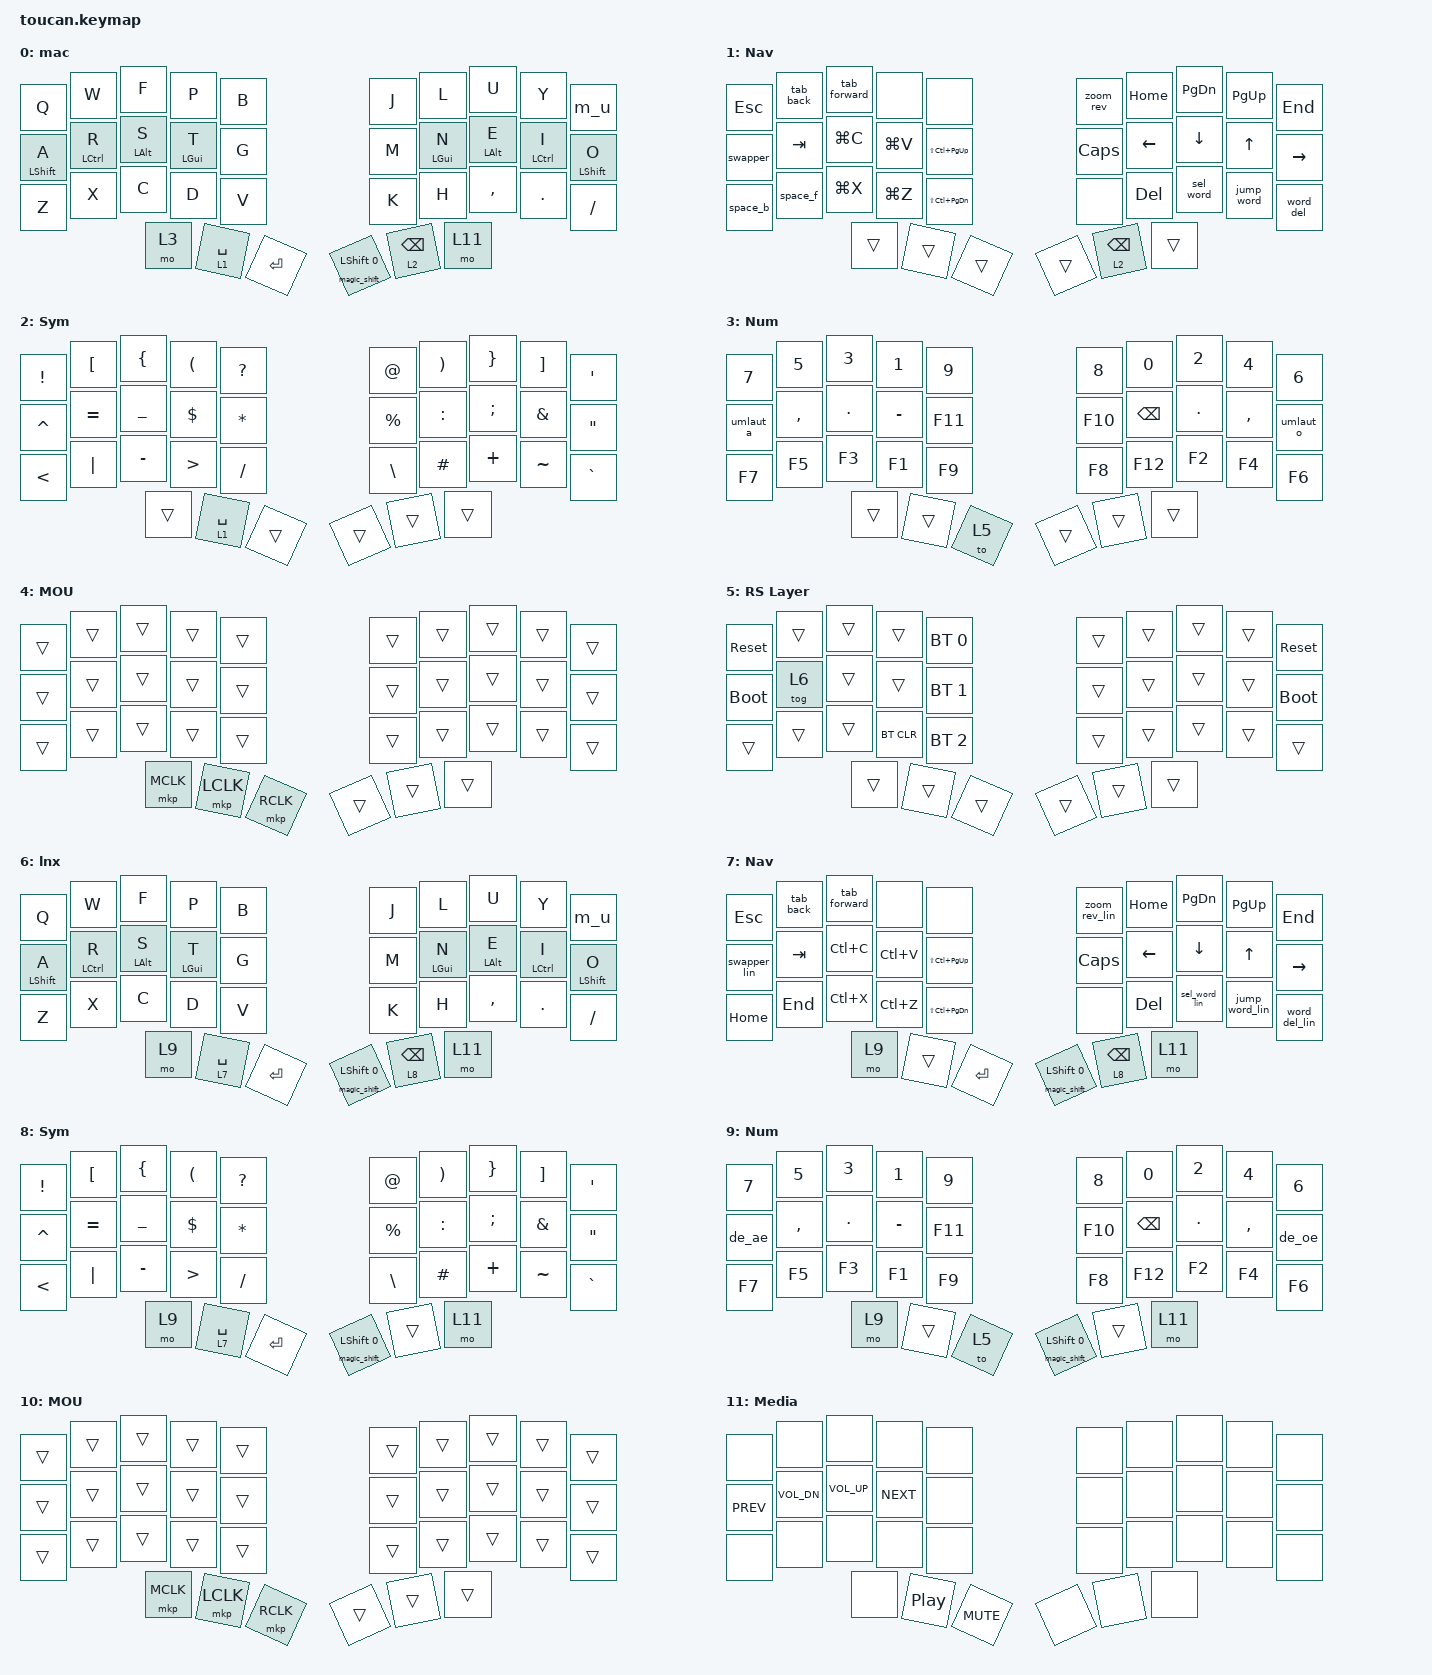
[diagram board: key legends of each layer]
// Copyright (c) 2022 The ZMK Contributors
// SPDX-License-Identifier: MIT

#include <behaviors.dtsi>
#include "zmk-helpers/helper.h"

// Linux Unicode input method for umlauts (Ctrl+Shift+U + hex + Space)
#define OS_UNICODE_LEAD &macro_tap &kp LS(LC(U))
#define OS_UNICODE_TRAIL &macro_tap &kp SPACE
#include <zmk-helpers/unicode-chars/german.dtsi>

#include <dt-bindings/zmk/keys.h>
#include <dt-bindings/zmk/bt.h>
#include <dt-bindings/zmk/pointing.h>
#include <dt-bindings/zmk/outputs.h>
#include "toucan_keys.h"
#include "combos.dtsi"

#define KEYS_L   LT4 LT3 LT2 LT1 LT0 LM4 LM3 LM2 LM1 LM0 LB4 LB3 LB2 LB1 LB0
#define KEYS_R   RT0 RT1 RT2 RT3 RT4 RM0 RM1 RM2 RM3 RM4 RB0 RB1 RB2 RB3 RB4
#define THUMBS   LH1 LH0 LHx RH0 RH1 RHx

#define QUICK_TAP_MS 175

#define MAKE_HRM(NAME, HOLD, TAP, TRIGGER_POS)                                 \
  ZMK_HOLD_TAP(NAME, bindings = <HOLD>, <TAP>; flavor = "balanced";            \
               tapping-term-ms = <280>; quick-tap-ms = <QUICK_TAP_MS>;         \
               require-prior-idle-ms = <150>; hold-trigger-on-release;         \
               hold-trigger-key-positions = <TRIGGER_POS>;)

MAKE_HRM(hml, &kp, &kp, KEYS_R THUMBS) // Left-hand HRMs.
MAKE_HRM(hmr, &kp, &kp, KEYS_L THUMBS) // Right-hand HRMs.

// Ctrl+Shift+PgUp/PgDn (e.g. move tab left/right)
#define S_C_PG_UP &kp LS(LC(PG_UP))
#define S_C_PG_DN &kp LS(LC(PG_DN))

#define MAGIC_SHIFT &magic_shift LSHFT 0

ZMK_HOLD_TAP(magic_shift, bindings = <&kp>, <&magic_shift_tap>;
             flavor = "balanced"; tapping-term-ms = <200>;
             quick-tap-ms = <175>;)

ZMK_MOD_MORPH(magic_shift_tap, bindings = <&shift_repeat>, <&caps_word>;
              mods = <(MOD_LSFT)>;)

ZMK_ADAPTIVE_KEY(
    shift_repeat, bindings = <&sk LSHFT>;
    repeat {
      trigger-keys = <A B C D E F G H I J K L M N O P Q R S T U V W X Y Z>;
      bindings = <&key_repeat>;
      max-prior-idle-ms = <1200>;
      strict-modifiers;
    };)

&caps_word {
  continue-list = <UNDERSCORE MINUS BACKSPACE>;
  /delete-property/ ignore-modifiers;
};

ZMK_TRI_STATE(swapper, bindings = <&kt LGUI>, <&kp TAB>, <&kt LGUI>;
              ignored-key-positions = <LT2 RM1 RM2 RM3 RM4>;)

// language swap in macos
ZMK_TRI_STATE(lang_swap, bindings = <&kt LCTRL>, <&kp SPACE>, <&kt LCTRL>;
              ignored-key-positions = <RB4>;)

// Linux window switcher (Alt+Tab)
ZMK_TRI_STATE(swapper_lin, bindings = <&kt LALT>, <&kp TAB>, <&kt LALT>;
              ignored-key-positions = <LT2 RM1 RM2 RM3 RM4>;)

/ {
    behaviors {
        m_u: minus_underscore {
            compatible = "zmk,behavior-mod-morph";
            #binding-cells = <0>;
            bindings = <&kp MINUS>, <&kp UNDERSCORE>;
            mods = <(MOD_LSFT|MOD_RSFT)>;
        };

        lt: layer_tap {
            compatible = "zmk,behavior-hold-tap";
            #binding-cells = <2>;
            flavor = "tap-preferred";
            tapping-term-ms = <280>;
            quick-tap-ms = <175>;
            require-prior-idle-ms = <120>;
            bindings = <&mo>, <&kp>;
            display-name = "Layer-Tap";
        };

        jump_word: jump_word {
            compatible = "zmk,behavior-mod-morph";
            #binding-cells = <0>;
            bindings = <&jump_word_f>, <&jump_word_b>;
            mods = <(MOD_LSFT|MOD_RSFT)>;
        };

        sel_word: sel_word {
            compatible = "zmk,behavior-mod-morph";
            #binding-cells = <0>;
            bindings = <&sel_word_f>, <&sel_word_b>;
            mods = <(MOD_LSFT|MOD_RSFT)>;
        };

        jump_word_lin: jump_word_lin {
            compatible = "zmk,behavior-mod-morph";
            #binding-cells = <0>;
            bindings = <&jump_word_f_lin>, <&jump_word_b_lin>;
            mods = <(MOD_LSFT|MOD_RSFT)>;
        };

        sel_word_lin: sel_word_lin {
            compatible = "zmk,behavior-mod-morph";
            #binding-cells = <0>;
            bindings = <&sel_word_f_lin>, <&sel_word_b_lin>;
            mods = <(MOD_LSFT|MOD_RSFT)>;
        };

        // Shift-reversible: tap = zoom in, Shift+tap = zoom out
        zoom_rev: zoom_rev {
            compatible = "zmk,behavior-mod-morph";
            #binding-cells = <0>;
            bindings = <&zoom_in>, <&zoom_out>;
            mods = <(MOD_LSFT|MOD_RSFT)>;
        };

        zoom_rev_lin: zoom_rev_lin {
            compatible = "zmk,behavior-mod-morph";
            #binding-cells = <0>;
            bindings = <&zoom_in_lin>, <&zoom_out_lin>;
            mods = <(MOD_LSFT|MOD_RSFT)>;
        };

    };

    macros {
        tab_forward: tab_forward {
            compatible = "zmk,behavior-macro";
            #binding-cells = <0>;
            bindings
                = <&macro_press &kp LCTRL &kp TAB>
                , <&macro_pause_for_release>
                , <&macro_release &kp LCTRL &kp TAB>
                ;
        };

        tab_back: tab_back {
            compatible = "zmk,behavior-macro";
            #binding-cells = <0>;
            bindings
                = <&macro_press &kp LCTRL &kp LSHFT>
                , <&macro_press &kp TAB>
                , <&macro_pause_for_release>
                , <&macro_release &kp TAB>
                , <&macro_release &kp LCTRL &kp LSHFT>
                ;
        };

        space_b: space_b {
            compatible = "zmk,behavior-macro";
            #binding-cells = <0>;
            bindings
                = <&macro_press &kp LCTRL &kp LEFT>
                , <&macro_pause_for_release>
                , <&macro_release &kp LCTRL &kp LEFT>
                ;
        };

        space_f: space_f {
            compatible = "zmk,behavior-macro";
            #binding-cells = <0>;
            bindings
                = <&macro_press &kp LCTRL &kp RIGHT>
                , <&macro_pause_for_release>
                , <&macro_release &kp LCTRL &kp RIGHT>
                ;
        };

        jump_word_f: jump_word_f {
            compatible = "zmk,behavior-macro";
            #binding-cells = <0>;
            bindings
                = <&macro_press &kp LALT &kp RIGHT>
                , <&macro_pause_for_release>
                , <&macro_release &kp LALT &kp RIGHT>
                ;
        };

        jump_word_b: word_b {
            compatible = "zmk,behavior-macro";
            #binding-cells = <0>;
            bindings
                = <&macro_press &kp LALT &kp LEFT>
                , <&macro_pause_for_release>
                , <&macro_release &kp LALT &kp LEFT>
                ;
        };

        sel_word_f: sel_word_f {
            compatible = "zmk,behavior-macro";
            #binding-cells = <0>;
            bindings
                = <&macro_press &kp LSHFT &kp LALT &kp RIGHT>
                , <&macro_pause_for_release>
                , <&macro_release &kp LSHFT &kp LALT &kp RIGHT>
                ;
        };

        sel_word_b: sel_word_b {
            compatible = "zmk,behavior-macro";
            #binding-cells = <0>;
            bindings
                = <&macro_press &kp LSHFT &kp LALT &kp LEFT>
                , <&macro_wait_time 5>
                , <&macro_pause_for_release>
                , <&macro_release &kp LSHFT &kp LALT &kp LEFT>
                ;
        };

        word_del: word_del {
            compatible = "zmk,behavior-macro";
            #binding-cells = <0>;
            bindings
                = <&macro_press &kp LCTRL>
                , <&macro_tap &kp W>
                , <&macro_release &kp LCTRL>
                ;
        };

        zoom_in: zoom_in {
            compatible = "zmk,behavior-macro";
            #binding-cells = <0>;
            bindings
                = <&macro_press &kp LGUI>
                , <&macro_tap &kp PLUS>
                , <&macro_release &kp LGUI>
                ;
        };

        zoom_out: zoom_out {
            compatible = "zmk,behavior-macro";
            #binding-cells = <0>;
            bindings
                = <&macro_press &kp LGUI>
                , <&macro_tap &kp MINUS>
                , <&macro_release &kp LGUI>
                ;
        };


        // these work only on macOS
        umlaut_a: umlaut_a {
            compatible = "zmk,behavior-macro";
            #binding-cells = <0>;
            bindings
                = <&macro_press &kp LALT>
                , <&macro_tap &kp U>
                , <&macro_release &kp LALT>
                , <&macro_tap &kp A>
                ;
        };

        umlaut_o: umlaut_o {
            compatible = "zmk,behavior-macro";
            #binding-cells = <0>;
            bindings
                = <&macro_press &kp LALT>
                , <&macro_tap &kp U>
                , <&macro_release &kp LALT>
                , <&macro_tap &kp O>
                ;
        };

        // Linux-specific macros (Ctrl-based shortcuts, Compose umlauts)
        zoom_in_lin: zoom_in_lin {
            compatible = "zmk,behavior-macro";
            #binding-cells = <0>;
            bindings
                = <&macro_press &kp LCTRL>
                , <&macro_tap &kp PLUS>
                , <&macro_release &kp LCTRL>
                ;
        };

        zoom_out_lin: zoom_out_lin {
            compatible = "zmk,behavior-macro";
            #binding-cells = <0>;
            bindings
                = <&macro_press &kp LCTRL>
                , <&macro_tap &kp MINUS>
                , <&macro_release &kp LCTRL>
                ;
        };

        jump_word_f_lin: jump_word_f_lin {
            compatible = "zmk,behavior-macro";
            #binding-cells = <0>;
            bindings
                = <&macro_press &kp LCTRL &kp RIGHT>
                , <&macro_pause_for_release>
                , <&macro_release &kp LCTRL &kp RIGHT>
                ;
        };

        jump_word_b_lin: word_b_lin {
            compatible = "zmk,behavior-macro";
            #binding-cells = <0>;
            bindings
                = <&macro_press &kp LCTRL &kp LEFT>
                , <&macro_pause_for_release>
                , <&macro_release &kp LCTRL &kp LEFT>
                ;
        };

        sel_word_f_lin: sel_word_f_lin {
            compatible = "zmk,behavior-macro";
            #binding-cells = <0>;
            bindings
                = <&macro_press &kp LSHFT &kp LCTRL &kp RIGHT>
                , <&macro_pause_for_release>
                , <&macro_release &kp LSHFT &kp LCTRL &kp RIGHT>
                ;
        };

        sel_word_b_lin: sel_word_b_lin {
            compatible = "zmk,behavior-macro";
            #binding-cells = <0>;
            bindings
                = <&macro_press &kp LSHFT &kp LCTRL &kp LEFT>
                , <&macro_wait_time 5>
                , <&macro_pause_for_release>
                , <&macro_release &kp LSHFT &kp LCTRL &kp LEFT>
                ;
        };

        word_del_lin: word_del_lin {
            compatible = "zmk,behavior-macro";
            #binding-cells = <0>;
            bindings
                = <&macro_press &kp LCTRL>
                , <&macro_tap &kp BSPC>
                , <&macro_release &kp LCTRL>
                ;
        };
    };

    conditional_layers {
        compatible = "zmk,conditional-layers";
        tri_layer {
            if-layers = <1 2>;
            then-layer = <3>;
        };
        tri_layer_lin {
            if-layers = <7 8>;
            then-layer = <9>;
        };
    };

    keymap {
        compatible = "zmk,keymap";
        default_layer {
            display-name = "mac";
            bindings = <
        //╭──────────┬──────────┬──────────┬──────────┬──────────┬──────────╮   ╭──────────┬──────────┬──────────┬──────────┬──────────┬──────────╮
        //│  none    │  Q       │  W       │  F       │  P       │  B       │   │  J       │  L       │  U       │  Y       │  - / _   │  none    │
            &kp Q   &kp W   &kp F   &kp P   &kp B   &kp J   &kp L   &kp U   &kp Y   &m_u
        //├──────────┼──────────┼──────────┼──────────┼──────────┼──────────┤   ├──────────┼──────────┼──────────┼──────────┼──────────┼──────────┤
        //│  none    │  A       │  R       │  S       │  T       │  G       │   │  M       │  N       │  E       │  I       │   O      │  none    │
        &hml LSHFT A   &hml LCTRL R   &hml LALT S   &hml LGUI T   &kp G   &kp M   &hmr LGUI N   &hmr LALT E   &hmr LCTRL I   &hmr LSHFT O
        //├──────────┼──────────┼──────────┼──────────┼──────────┼──────────┤   ├──────────┼──────────┼──────────┼──────────┼──────────┼──────────┤
        //│  none    │  Z       │  X       │  C       │  D       │  V       │   │  K       │  H       │ , <      │ . >      │ / ?      │  none    │
            &kp Z   &kp X   &kp C   &kp D   &kp V   &kp K   &kp H   &kp COMMA   &kp DOT   &kp FSLH
        //╰──────────┴──────────┴──────────┼──────────┼──────────┼──────────┤   ├──────────┼──────────┼──────────┴──────────┴──────────┴──────────╯
                                            &mo 3      &lt 1 SPACE  &kp ENTER      MAGIC_SHIFT &lt 2 BSPC    &mo 11
        //                                 ╰──────────┴──────────┴──────────╯   ╰──────────┴──────────┴──────────╯
            >;
        };

        nav_layer {
            display-name = "Nav";
            bindings = <
        //╭──────────┬──────────┬──────────┬──────────┬──────────┬──────────╮   ╭──────────┬──────────┬──────────┬──────────┬──────────┬──────────╮
        //│  none    │  ESC     │ TAB BACK │ TAB FWD  │          │          │   │ ZOOM +/- │  HOME    │ PAGE DN  │ PAGE UP  │ END      │  none    │
            &kp ESC   &tab_back   &tab_forward   &none   &none   &zoom_rev   &kp HOME   &kp PG_DN   &kp PG_UP   &kp END
        //├──────────┼──────────┼──────────┼──────────┼──────────┼──────────┤   ├──────────┼──────────┼──────────┼──────────┼──────────┼──────────┤
        //│  none    │ WIN-SWAP │  TAB     | COPY     │ PASTE    | S-C-PGUP │   │ CAPSLOCK |  LEFT    │ DOWN     │ UP       │ RIGHT    │  none    │
            &swapper   &kp TAB   &kp LG(C)   &kp LG(V)   S_C_PG_UP   &kp CAPS   &kp LEFT   &kp DOWN   &kp UP   &kp RIGHT
        //├──────────┼──────────┼──────────┼──────────┼──────────┼──────────┤   ├──────────┼──────────┼──────────┼──────────┼──────────┼──────────┤
        //│  none    │ SPACE B  │ SPACE F  │  CUT     │  UNDO    │ S-C-PGDN │   │          │  DEL     | SEL WORD | JUMP WORD| WORD DEL │  none    │
            &space_b   &space_f   &kp LG(X)   &kp LG(Z)   S_C_PG_DN   &none   &kp DEL   &sel_word   &jump_word   &word_del
        //╰──────────┴──────────┴──────────┼──────────┼──────────┼──────────┤   ├──────────┼──────────┼──────────┴──────────┴──────────┴──────────╯
                                            &trans      &trans      &trans         &trans      &lt 2 BSPC     &trans
        //                                 ╰──────────┴──────────┴──────────╯   ╰──────────┴──────────┴──────────╯
            >;
        };

        sym_layer {
            display-name = "Sym";
            bindings = <
        //╭──────────┬──────────┬──────────┬──────────┬──────────┬──────────╮   ╭──────────┬──────────┬──────────┬──────────┬──────────┬──────────╮
        //│  none    │  !       │  [       │  {       │  (       │  ?       │   │  @       │  )       │  }       │  ]       │  '       │  none    │
           &kp EXCL   &kp LBKT   &kp LBRC   &kp LPAR   &kp QMARK   &kp AT_SIGN   &kp RPAR   &kp RBRC   &kp RBKT   &kp SQT
        //├──────────┼──────────┼──────────┼──────────┼──────────┼──────────┤   ├──────────┼──────────┼──────────┼──────────┼──────────┼──────────┤
        //│  none    │  ^       │  =       │  _       │  $       │  *       │   │  %       │  :       │  ;       │  &       │  "       │  none    │
           &kp CARET   &kp EQUAL   &kp UNDER   &kp DLLR   &kp ASTRK   &kp PRCNT   &kp COLON   &kp SEMI   &kp AMPS   &kp DQT
        //├──────────┼──────────┼──────────┼──────────┼──────────┼──────────┤   ├──────────┼──────────┼──────────┼──────────┼──────────┼──────────┤
        //│  none    │  <       │  |       │  -       │  >       │  /       │   │  \       │  #       │  +       │  ~       │  `       │  none    │
            &kp LT   &kp PIPE   &kp MINUS   &kp GT   &kp SLASH   &kp BSLH   &kp HASH   &kp PLUS   &kp TILDE   &kp GRAVE
        //╰──────────┴──────────┴──────────┼──────────┼──────────┼──────────┤   ├──────────┼──────────┼──────────┴──────────┴──────────┴──────────╯
                                            &trans      &lt 1 SPACE      &trans         &trans      &trans     &trans
        //                                 ╰──────────┴──────────┴──────────╯   ╰──────────┴──────────┴──────────╯
            >;
        };

        num_layer {
            display-name = "Num";
            bindings = <
        //╭──────────┬──────────┬──────────┬──────────┬──────────┬──────────╮   ╭──────────┬──────────┬──────────┬──────────┬──────────┬──────────╮
        //│  none    │  7       │  5       │  3       │  1       │  9       │   │  8       │  0       │  2       │  4       │  6       │  none    │
            &kp N7   &kp N5   &kp N3   &kp N1   &kp N9   &kp N8   &kp N0   &kp N2   &kp N4   &kp N6
        //├──────────┼──────────┼──────────┼──────────┼──────────┼──────────┤   ├──────────┼──────────┼──────────┼──────────┼──────────┼──────────┤
        //│  none    │  ä       │  ,       │  .       │  -       │  F11     │   │  F10     │  BSPC    │  .       │  ,       │  ö       │  none    │
            &umlaut_a   &kp COMMA   &kp DOT   &kp MINUS   &kp F11   &kp F10   &kp BSPC   &kp DOT   &kp COMMA   &umlaut_o
        //├──────────┼──────────┼──────────┼──────────┼──────────┼──────────┤   ├──────────┼──────────┼──────────┼──────────┼──────────┼──────────┤
        //│  none    │  F7      │  F5      │  F3      │ F1       │  F9      │   │  F8      │  F12     │  F2      │  F4      │  F6      │  none    │
            &kp F7   &kp F5   &kp F3   &kp F1   &kp F9   &kp F8   &kp F12   &kp F2   &kp F4   &kp F6
        //╰──────────┴──────────┴──────────┼──────────┼──────────┼──────────┤   ├──────────┼──────────┼──────────┴──────────┴──────────┴──────────╯
                                            &trans      &trans      &to 5            &trans      &trans     &trans
        //                                 ╰──────────┴──────────┴──────────╯   ╰──────────┴──────────┴──────────╯
            >;
        };

        mouse {
            display-name = "MOU";
            bindings = <
                &trans   &trans   &trans   &trans   &trans   &trans   &trans   &trans   &trans   &trans
                &trans   &trans   &trans   &trans   &trans   &trans   &trans   &trans   &trans   &trans
                &trans   &trans   &trans   &trans   &trans   &trans   &trans   &trans   &trans   &trans
                            &mkp MCLK &mkp LCLK &mkp RCLK        &trans      &trans     &trans
            >;
        };

        rs_layer {
            display-name = "RS Layer";
            bindings = <
        //╭──────────┬──────────┬──────────┬──────────┬──────────┬──────────╮   ╭──────────┬──────────┬──────────┬──────────┬──────────┬──────────╮
        //│  none    │ RESET    │          │          │          │PROFILE 0 │   │          │          │          │          │  RESET   │  none    │
           &sys_reset   &trans   &trans   &trans   &bt BT_SEL 0   &trans   &trans   &trans   &trans   &sys_reset
        //├──────────┼──────────┼──────────┼──────────┼──────────┼──────────┤   ├──────────┼──────────┼──────────┼──────────┼──────────┼──────────┤
        //│  none    │BOOTLOADER│ LINUX-TOG│          │          │PROFILE 1 │   │          │          │          │          │BOOTLOADER│  none    │
          &bootloader   &tog 6   &trans   &trans   &bt BT_SEL 1   &trans   &trans   &trans   &trans   &bootloader
        //├──────────┼──────────┼──────────┼──────────┼──────────┼──────────┤   ├──────────┼──────────┼──────────┼──────────┼──────────┼──────────┤
        //│  none    │          │          │          │ CLEAR BT │PROFILE 2 │   │          │          │          │          │          │  none    │
            &trans   &trans   &trans   &bt BT_CLR   &bt BT_SEL 2   &trans   &trans   &trans   &trans   &trans
        //╰──────────┴──────────┴──────────┼──────────┼──────────┼──────────┤   ├──────────┼──────────┼──────────┴──────────┴──────────┴──────────╯
                                            &trans      &trans      &trans         &trans      &trans     &trans
        //                                 ╰──────────┴──────────┴──────────╯   ╰──────────┴──────────┴──────────╯
            >;
        };

        lin_overlay {
            display-name = "lnx";
            bindings = <
        //╭──────────┬──────────┬──────────┬──────────┬──────────┬──────────╮   ╭──────────┬──────────┬──────────┬──────────┬──────────┬──────────╮
        //│          │          │          │          │          │          │   │          │          │          │          │          │          │
            &kp Q   &kp W   &kp F   &kp P   &kp B   &kp J   &kp L   &kp U   &kp Y   &m_u
        //├──────────┼──────────┼──────────┼──────────┼──────────┼──────────┤   ├──────────┼──────────┼──────────┼──────────┼──────────┼──────────┤
        //│          │          │          │          │          │          │   │          │          │          │          │          │          │
        &hml LSHFT A   &hml LCTRL R   &hml LALT S   &hml LGUI T   &kp G   &kp M   &hmr LGUI N   &hmr LALT E   &hmr LCTRL I   &hmr LSHFT O
        //├──────────┼──────────┼──────────┼──────────┼──────────┼──────────┤   ├──────────┼──────────┼──────────┼──────────┼──────────┼──────────┤
        //│          │          │          │          │          │          │   │          │          │          │          │          │          │
            &kp Z   &kp X   &kp C   &kp D   &kp V   &kp K   &kp H   &kp COMMA   &kp DOT   &kp FSLH
        //╰──────────┴──────────┴──────────┼──────────┼──────────┼──────────┤   ├──────────┼──────────┼──────────┴──────────┴──────────┴──────────╯
                                             &mo 9     &lt 7 SPACE  &kp ENTER    MAGIC_SHIFT  &lt 8 BSPC  &mo 11
        //                                 ╰──────────┴──────────┴──────────╯   ╰──────────┴──────────┴──────────╯
            >;
        };

        nav_lin {
            display-name = "Nav";
            bindings = <
        //╭──────────┬──────────┬──────────┬──────────┬──────────┬──────────╮   ╭──────────┬──────────┬──────────┬──────────┬──────────┬──────────╮
        //│  none    │  ESC     │ TAB BACK │ TAB FWD  │          │          │   │ ZOOM +/- │  HOME    │ PAGE DN  │ PAGE UP  │ END      │  none    │
            &kp ESC   &tab_back   &tab_forward   &none   &none   &zoom_rev_lin   &kp HOME   &kp PG_DN   &kp PG_UP   &kp END
        //├──────────┼──────────┼──────────┼──────────┼──────────┼──────────┤   ├──────────┼──────────┼──────────┼──────────┼──────────┼──────────┤
        //│  none    │ ALT-TAB  │  TAB     | COPY     │ PASTE    | S-C-PGUP │   │ CAPSLOCK |  LEFT    │ DOWN     │ UP       │ RIGHT    │  none    │
            &swapper_lin   &kp TAB   &kp LC(C)   &kp LC(V)   S_C_PG_UP   &kp CAPS   &kp LEFT   &kp DOWN   &kp UP   &kp RIGHT
        //├──────────┼──────────┼──────────┼──────────┼──────────┼──────────┤   ├──────────┼──────────┼──────────┼──────────┼──────────┼──────────┤
        //│  none    │ HOME     │ END      │  CUT     │  UNDO    │ S-C-PGDN │   │          │  DEL     | SEL WORD | JUMP WORD| WORD DEL │  none    │
            &kp HOME   &kp END   &kp LC(X)   &kp LC(Z)   S_C_PG_DN   &none   &kp DEL   &sel_word_lin   &jump_word_lin   &word_del_lin
        //╰──────────┴──────────┴──────────┼──────────┼──────────┼──────────┤   ├──────────┼──────────┼──────────┴──────────┴──────────┴──────────╯
                                            &mo 9        &trans      &kp ENTER    MAGIC_SHIFT  &lt 8 BSPC  &mo 11
        //                                 ╰──────────┴──────────┴──────────╯   ╰──────────┴──────────┴──────────╯
            >;
        };

        
        sym_lin {
            display-name = "Sym";
            bindings = <
        //╭──────────┬──────────┬──────────┬──────────┬──────────┬──────────╮   ╭──────────┬──────────┬──────────┬──────────┬──────────┬──────────╮
        //│  none    │  !       │  [       │  {       │  (       │  ?       │   │  @       │  )       │  }       │  ]       │  '       │  none    │
           &kp EXCL   &kp LBKT   &kp LBRC   &kp LPAR   &kp QMARK   &kp AT_SIGN   &kp RPAR   &kp RBRC   &kp RBKT   &kp SQT
        //├──────────┼──────────┼──────────┼──────────┼──────────┼──────────┤   ├──────────┼──────────┼──────────┼──────────┼──────────┼──────────┤
        //│  none    │  ^       │  =       │  _       │  $       │  *       │   │  %       │  :       │  ;       │  &       │  "       │  none    │
           &kp CARET   &kp EQUAL   &kp UNDER   &kp DLLR   &kp ASTRK   &kp PRCNT   &kp COLON   &kp SEMI   &kp AMPS   &kp DQT
        //├──────────┼──────────┼──────────┼──────────┼──────────┼──────────┤   ├──────────┼──────────┼──────────┼──────────┼──────────┼──────────┤
        //│  none    │  <       │  |       │  -       │  >       │  /       │   │  \       │  #       │  +       │  ~       │  `       │  none    │
            &kp LT   &kp PIPE   &kp MINUS   &kp GT   &kp SLASH   &kp BSLH   &kp HASH   &kp PLUS   &kp TILDE   &kp GRAVE
        //╰──────────┴──────────┴──────────┼──────────┼──────────┼──────────┤   ├──────────┼──────────┼──────────┴──────────┴──────────┴──────────╯
                                            &mo 9        &lt 7 SPACE &kp ENTER    MAGIC_SHIFT &trans      &mo 11
        //                                 ╰──────────╴──────────╴──────────╯   ╰──────────╴──────────╴──────────╯
            >;
        };

        num_lin {
            display-name = "Num";
            bindings = <
        //╭──────────┬──────────┬──────────┬──────────┬──────────┬──────────╮   ╭──────────┬──────────┬──────────┬──────────┬──────────┬──────────╮
        //│  none    │  7       │  5       │  3       │  1       │  9       │   │  8       │  0       │  2       │  4       │  6       │  none    │
            &kp N7   &kp N5   &kp N3   &kp N1   &kp N9   &kp N8   &kp N0   &kp N2   &kp N4   &kp N6
        //├──────────┼──────────┼──────────┼──────────┼──────────┼──────────┤   ├──────────┼──────────┼──────────┼──────────┼──────────┼──────────┤
        //│  none    │  ä       │  ,       │  .       │  -       │  F11     │   │  F10     │  BSPC    │  .       │  ,       │  ö       │  none    │
            &de_ae   &kp COMMA   &kp DOT   &kp MINUS   &kp F11   &kp F10   &kp BSPC   &kp DOT   &kp COMMA   &de_oe
        //├──────────┼──────────┼──────────┼──────────┼──────────┼──────────┤   ├──────────┼──────────┼──────────┼──────────┼──────────┼──────────┤
        //│  none    │  F7      │  F5      │  F3      │ F1       │  F9      │   │  F8      │  F12     │  F2      │  F4      │  F6      │  none    │
            &kp F7   &kp F5   &kp F3   &kp F1   &kp F9   &kp F8   &kp F12   &kp F2   &kp F4   &kp F6
        //╰──────────┴──────────┴──────────┼──────────┼──────────┼──────────┤   ├──────────┼──────────┼──────────┴──────────┴──────────┴──────────╯
                                            &mo 9        &trans      &to 5            MAGIC_SHIFT &trans      &mo 11
        //                                 ╰──────────┴──────────┴──────────╯   ╰──────────┴──────────┴──────────╯
            >;
        };


        mouse_lin {
            display-name = "MOU";
            bindings = <
                &trans   &trans   &trans   &trans   &trans   &trans   &trans   &trans   &trans   &trans
                &trans   &trans   &trans   &trans   &trans   &trans   &trans   &trans   &trans   &trans
                &trans   &trans   &trans   &trans   &trans   &trans   &trans   &trans   &trans   &trans
                            &mkp MCLK &mkp LCLK &mkp RCLK        &trans      &trans     &trans
            >;
        };

        // Shared by macOS and Linux (media keys are OS-independent).
        // Held from position 35 (right outer thumb). Unused keys are &none so nothing falls through.
        media_layer {
            display-name = "Media";
            bindings = <
        //╭──────────┬──────────┬──────────┬──────────┬──────────┬──────────╮   ╭──────────┬──────────┬──────────┬──────────┬──────────┬──────────╮
        //│  none    │          │          │          │          │          │   │          │          │          │          │          │  none    │
            &none   &none   &none   &none   &none   &none   &none   &none   &none   &none
        //├──────────┼──────────┼──────────┼──────────┼──────────┼──────────┤   ├──────────┼──────────┼──────────┼──────────┼──────────┼──────────┤
        //│  none    │ PREV     │ VOL DOWN │ VOL UP   │ NEXT     │          │   │          │          │          │          │          │  none    │
            &kp C_PREV   &kp C_VOL_DN   &kp C_VOL_UP   &kp C_NEXT   &none   &none   &none   &none   &none   &none
        //├──────────┼──────────┼──────────┼──────────┼──────────┼──────────┤   ├──────────┼──────────┼──────────┼──────────┼──────────┼──────────┤
        //│  none    │          │          │          │          │          │   │          │          │          │          │          │  none    │
            &none   &none   &none   &none   &none   &none   &none   &none   &none   &none
        //╰──────────┴──────────┴──────────┼──────────┼──────────┼──────────┤   ├──────────┼──────────┼──────────┴──────────┴──────────┴──────────╯
        //                                 │          │PLAY/PAUSE│ MUTE     │   │          │          │ (held)   │
                                            &none     &kp C_PP     &kp C_MUTE     &none       &none      &none
        //                                 ╰──────────┴──────────┴──────────╯   ╰──────────┴──────────┴──────────╯
            >;
        };

        extra_3 {
                status = "reserved";
        };
    };

};
